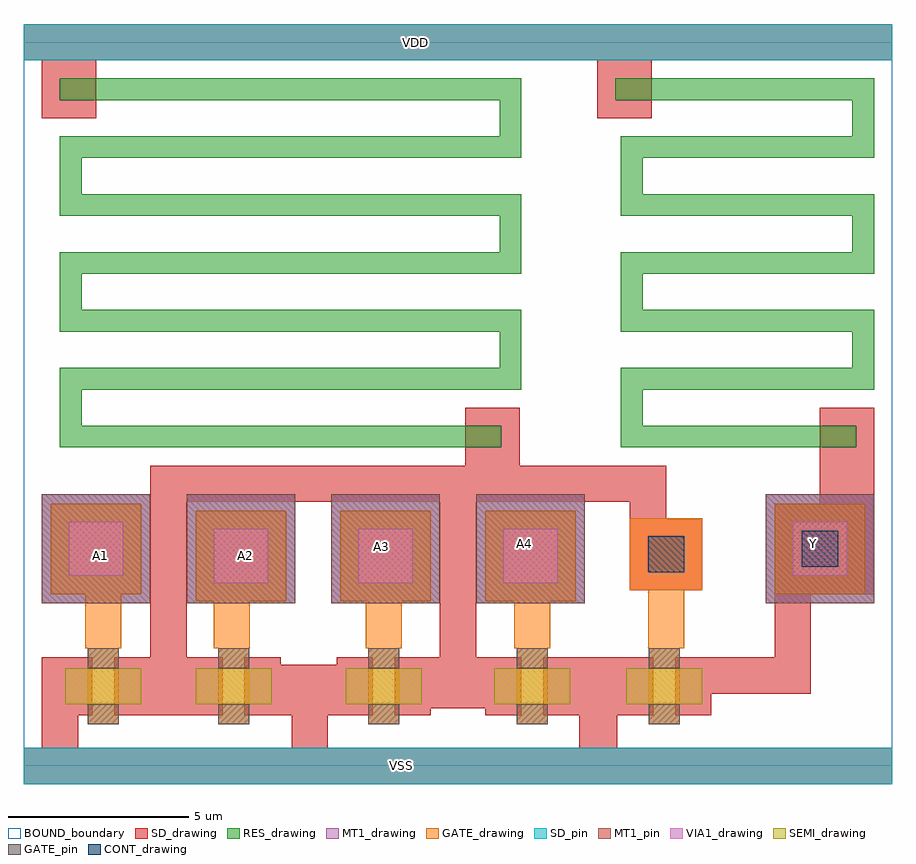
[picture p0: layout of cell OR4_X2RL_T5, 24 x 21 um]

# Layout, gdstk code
import gdstk
lib = gdstk.Library(unit=1e-6, precision=1e-09)
def R(c, l, rs):  # rectangles x0, y0, x1, y1
    for r in rs: c.add(gdstk.rectangle(r[:2], r[2:], *l))
def A(c, l, x, y, w, h, nx, ny, dx, dy):  # array of equal rectangles
    R(c, l, [(x+i*dx, y+j*dy, x+i*dx+w, y+j*dy+h) for i in range(nx) for j in range(ny)])
def P(c, l, *ps):  # polygons
    for p in ps: c.add(gdstk.Polygon(p, *l))
RES_drawing = (1, 0)
SEMI_drawing = (3, 0)
SD_drawing = (10, 0)
SD_pin = (10, 3)
GATE_drawing = (11, 0)
GATE_pin = (11, 3)
MT1_drawing = (20, 0)
MT1_pin = (20, 3)
CONT_drawing = (30, 0)
VIA1_drawing = (41, 0)
BOUND_boundary = (150, 5)

nch_cdns_772545142720 = lib.new_cell('nch_CDNS_772545142720')
R(nch_cdns_772545142720, SEMI_drawing, [(-1.05,-0.5,1.05,0.5)])
R(nch_cdns_772545142720, SD_drawing, [(-1.3,-0.8,-0.3,0.8), (0.3,-0.8,1.3,0.8)])
R(nch_cdns_772545142720, GATE_drawing, [(-0.425,-1.05,0.425,1.05)])
R(nch_cdns_772545142720, GATE_pin, [(-0.425,-1.05,0.425,-0.5), (-0.425,0.5,0.425,1.05)])

sd_gate_cdns_77254514272 = lib.new_cell('SD_GATE_CDNS_772545142720')
R(sd_gate_cdns_77254514272, SD_drawing, [(-1,-1,1,1)])
R(sd_gate_cdns_77254514272, GATE_drawing, [(-1,-1,1,1)])
R(sd_gate_cdns_77254514272, CONT_drawing, [(-0.5,-0.5,0.5,0.5)])

c_sd_gate_cdns_77254514272 = lib.new_cell('SD_GATE_CDNS_772545142721')
R(c_sd_gate_cdns_77254514272, SD_drawing, [(-1.25,-1.25,1.25,1.25)])
R(c_sd_gate_cdns_77254514272, GATE_drawing, [(-1.25,-1.25,1.25,1.25)])
R(c_sd_gate_cdns_77254514272, CONT_drawing, [(-0.5,-0.5,0.5,0.5)])

gate_mt1_cdns_7725451427 = lib.new_cell('GATE_MT1_CDNS_772545142722')
R(gate_mt1_cdns_7725451427, GATE_drawing, [(-1.25,-1.25,1.25,1.25)])
R(gate_mt1_cdns_7725451427, MT1_drawing, [(-1.25,-1.25,1.25,1.25)])
R(gate_mt1_cdns_7725451427, VIA1_drawing, [(-0.75,-0.75,0.75,0.75)])

gate_mt1_stack_cdns_7725 = lib.new_cell('GATE_MT1_STACK_CDNS_772545142723')
R(gate_mt1_stack_cdns_7725, GATE_drawing, [(-1.25,-1.25,1.25,1.25)])
R(gate_mt1_stack_cdns_7725, MT1_drawing, [(-1.25,-1.25,1.25,1.25)])
R(gate_mt1_stack_cdns_7725, VIA1_drawing, [(-0.75,-0.75,0.75,0.75)])

or4_x2rl_t5 = lib.new_cell('OR4_X2RL_T5')
R(or4_x2rl_t5, SD_drawing, [(0,-0.5,24,0.5), (0.5,0.5,1.5,3), (7.4,0.5,8.4,2.8), (15.35,0.5,16.4,3), (22,4.75,23.5,9.9), (12.2,8.3,13.7,9.9), (0.5,17.9,2,19.5), (15.85,17.9,17.35,19.5), (0,19.5,24,20.5)])
R(or4_x2rl_t5, SD_pin, [(0,-0.5,24,0.5), (0,19.5,24,20.5)])
P(or4_x2rl_t5, GATE_drawing, [(6.25,3.35),(5.25,3.35),(5.25,3.25),(5.425,3.25),(5.425,3.2),(6.175,3.2),(6.175,3.25),(6.25,3.25)],
  [(18.25,3.35),(17.25,3.35),(17.25,3.25),(17.325,3.25),(17.325,3.2),(18.075,3.2),(18.075,3.25),(18.25,3.25)],
  [(14.55,3.35),(13.55,3.35),(13.55,3.25),(13.675,3.25),(13.675,3.2),(14.425,3.2),(14.425,3.25),(14.55,3.25)],
  [(2.7,3.35),(1.7,3.35),(1.7,3.25),(1.825,3.25),(1.825,3.2),(2.575,3.2),(2.575,3.25),(2.7,3.25)],
  [(10.45,3.35),(9.45,3.35),(9.45,3.25),(9.575,3.25),(9.575,3.2),(10.325,3.2),(10.325,3.25),(10.45,3.25)])
A(or4_x2rl_t5, MT1_drawing, 0.5, 4.5, 3, 3, 4, 1, 4, 0)
R(or4_x2rl_t5, MT1_drawing, [(20.5,4.5,23.5,7.5)])
A(or4_x2rl_t5, MT1_pin, 0.5, 4.5, 3, 3, 4, 1, 4, 0)
R(or4_x2rl_t5, MT1_pin, [(20.5,4.5,23.5,7.5)])
R(or4_x2rl_t5, BOUND_boundary, [(0,0,24,20)])
or4_x2rl_t5.add(gdstk.FlexPath([(17.25,7.8),(17.25,6.85)], 1, ends=(0.5, 0), simple_path=True, layer=10, datatype=0))  # SD_drawing
or4_x2rl_t5.add(gdstk.FlexPath([(17.7,5.85),(17.75,5.85)], 1, ends=(0.5, 0), simple_path=True, layer=10, datatype=0))  # SD_drawing
or4_x2rl_t5.add(gdstk.FlexPath([(21.25,2.5),(21.25,4.55)], 1, ends="extended", simple_path=True, layer=10, datatype=0))  # SD_drawing
or4_x2rl_t5.add(gdstk.FlexPath([(17.25,7.8),(12,7.8)], 1, ends="extended", simple_path=True, layer=10, datatype=0))  # SD_drawing
or4_x2rl_t5.add(gdstk.FlexPath([(4,1.4),(4,7.8)], 1, ends=(0, 0.5), simple_path=True, layer=10, datatype=0))  # SD_drawing
or4_x2rl_t5.add(gdstk.FlexPath([(11.25,2.3),(12.75,2.3)], 1.4, ends="flush", simple_path=True, layer=10, datatype=0))  # SD_drawing
or4_x2rl_t5.add(gdstk.FlexPath([(12,7.8),(12,2.3)], 1, ends=(0.5, 0.7), simple_path=True, layer=10, datatype=0))  # SD_drawing
or4_x2rl_t5.add(gdstk.FlexPath([(19,2.5),(21.25,2.5)], 1, ends=(0, 0.5), simple_path=True, layer=10, datatype=0))  # SD_drawing
or4_x2rl_t5.add(gdstk.FlexPath([(12,7.8),(4.5,7.8)], 1, ends=(0.5, 0), simple_path=True, layer=10, datatype=0))  # SD_drawing
or4_x2rl_t5.add(gdstk.FlexPath([(8.65,2.1),(7.1,2.1)], 1.4, ends="flush", simple_path=True, layer=10, datatype=0))  # SD_drawing
or4_x2rl_t5.add(gdstk.FlexPath([(2.2,3.35),(2.2,4.9)], 1, ends="flush", simple_path=True, layer=11, datatype=0))  # GATE_drawing
or4_x2rl_t5.add(gdstk.FlexPath([(17.75,4.85),(17.75,3.35)], 1, ends="flush", simple_path=True, layer=11, datatype=0))  # GATE_drawing
or4_x2rl_t5.add(gdstk.FlexPath([(14.05,3.35),(14.05,4.9)], 1, ends="flush", simple_path=True, layer=11, datatype=0))  # GATE_drawing
or4_x2rl_t5.add(gdstk.FlexPath([(9.95,3.35),(9.95,4.9)], 1, ends="flush", simple_path=True, layer=11, datatype=0))  # GATE_drawing
or4_x2rl_t5.add(gdstk.FlexPath([(5.75,3.35),(5.75,4.9)], 1, ends="flush", simple_path=True, layer=11, datatype=0))  # GATE_drawing
or4_x2rl_t5.add(gdstk.FlexPath([(16.35,18.7),(23.2,18.7),(23.2,17.1),(16.8,17.1),(16.8,15.5),(23.2,15.5),(23.2,13.9),(16.8,13.9),(16.8,12.3),(23.2,12.3),(23.2,10.7),(16.8,10.7),(16.8,9.1),(23,9.1)], 0.6, ends="flush", simple_path=True, layer=1, datatype=0))  # RES_drawing
or4_x2rl_t5.add(gdstk.FlexPath([(2,18.7),(13.45,18.7),(13.45,17.1),(1.3,17.1),(1.3,15.5),(13.45,15.5),(13.45,13.9),(1.3,13.9),(1.3,12.3),(13.45,12.3),(13.45,10.7),(1.3,10.7),(1.3,9.1),(12.2,9.1)], 0.6, ends=(1, 1), simple_path=True, layer=1, datatype=0))  # RES_drawing
or4_x2rl_t5.add(gdstk.Reference(nch_cdns_772545142720, (17.7,2.2), x_reflection=True))
or4_x2rl_t5.add(gdstk.Reference(nch_cdns_772545142720, (9.95,2.2), x_reflection=True))
or4_x2rl_t5.add(gdstk.Reference(nch_cdns_772545142720, (5.8,2.2)))
or4_x2rl_t5.add(gdstk.Reference(nch_cdns_772545142720, (14.05,2.2), x_reflection=True))
or4_x2rl_t5.add(gdstk.Reference(nch_cdns_772545142720, (2.2,2.2)))
or4_x2rl_t5.add(gdstk.Reference(sd_gate_cdns_77254514272, (17.75,5.85)))
or4_x2rl_t5.add(gdstk.Reference(c_sd_gate_cdns_77254514272, (22,6)))
or4_x2rl_t5.add(gdstk.Reference(gate_mt1_cdns_7725451427, (22,6)))
or4_x2rl_t5.add(gdstk.Reference(gate_mt1_stack_cdns_7725, (2,6)))
or4_x2rl_t5.add(gdstk.Reference(gate_mt1_stack_cdns_7725, (6,5.8)))
or4_x2rl_t5.add(gdstk.Reference(gate_mt1_stack_cdns_7725, (10,5.8)))
or4_x2rl_t5.add(gdstk.Reference(gate_mt1_stack_cdns_7725, (14,5.8)))
or4_x2rl_t5.add(gdstk.Label('A1', (2.125,5.825), layer=20, texttype=3))
or4_x2rl_t5.add(gdstk.Label('A4', (13.825,6.15), layer=20, texttype=3))
or4_x2rl_t5.add(gdstk.Label('A3', (9.875,6.05), layer=20, texttype=3))
or4_x2rl_t5.add(gdstk.Label('Y', (21.825,6.15), layer=20, texttype=3))
or4_x2rl_t5.add(gdstk.Label('A2', (6.125,5.825), layer=20, texttype=3))
or4_x2rl_t5.add(gdstk.Label('VDD', (10.825,20), layer=10, texttype=3))
or4_x2rl_t5.add(gdstk.Label('VSS', (10.425,0), layer=10, texttype=3))

lib.write_gds('OR4_X2RL_T5.gds')
